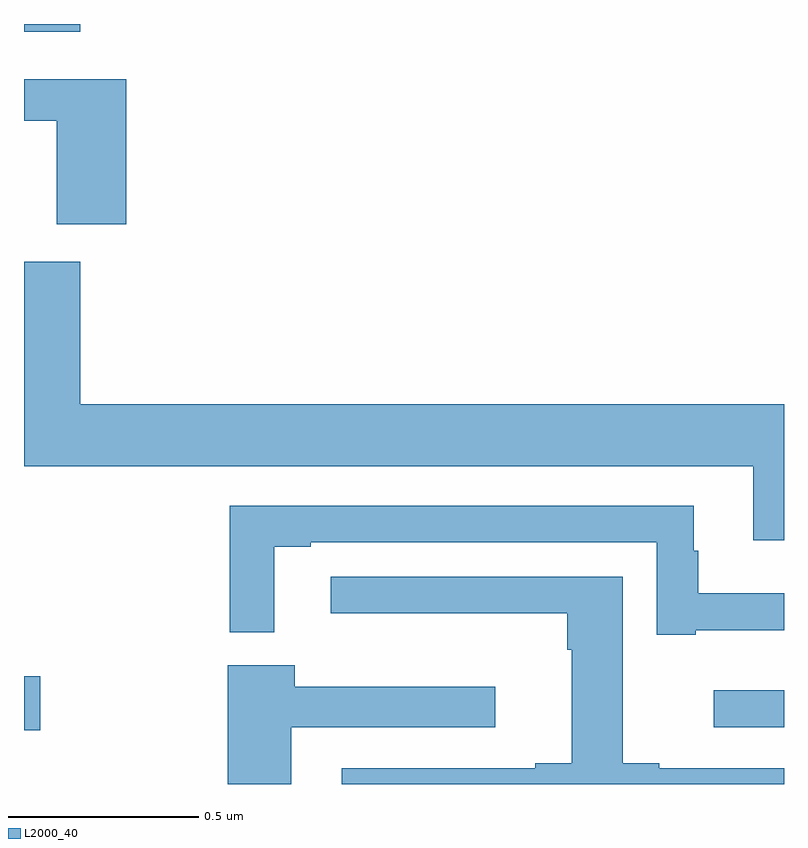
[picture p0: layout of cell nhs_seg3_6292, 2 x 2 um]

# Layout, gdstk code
import gdstk
lib = gdstk.Library(unit=1e-6, precision=1e-09)
def R(c, l, rs):  # rectangles x0, y0, x1, y1
    for r in rs: c.add(gdstk.rectangle(r[:2], r[2:], *l))
def P(c, l, *ps):  # polygons
    for p in ps: c.add(gdstk.Polygon(p, *l))
L2000_40 = (2000, 40)

nhs_seg3_6292 = lib.new_cell('nhs_seg3_6292')
R(nhs_seg3_6292, L2000_40, [(189,713.542,189.043,713.684), (190.815,713.55,191,713.647), (189,715.38,189.148,715.4)])
P(nhs_seg3_6292, L2000_40, [(189.269,715.254),(189,715.254),(189,715.146),(189.086,715.146),(189.086,714.873),(189.269,714.873)],
  [(191,714.4),(189.148,714.4),(189.148,714.775),(189,714.775),(189,714.236),(190.919,714.236),(190.919,714.042),(191,714.042)],
  [(190.768,713.804),(191,713.804),(191,713.902),(190.774,713.902),(190.774,714.014),(190.762,714.014),(190.762,714.132),(189.541,714.132),(189.541,713.799),(189.658,713.799),(189.658,714.024),(189.754,714.024),(189.754,714.036),(190.665,714.036),(190.665,713.793),(190.768,713.793)],
  [(191,713.442),(190.672,713.442),(190.672,713.455),(190.576,713.455),(190.576,713.946),(189.807,713.946),(189.807,713.849),(190.43,713.849),(190.43,713.753),(190.442,713.753),(190.442,713.455),(190.346,713.455),(190.346,713.442),(189.836,713.442),(189.836,713.4),(191,713.4)],
  [(189.703,713.549),(190.24,713.549),(190.24,713.656),(189.713,713.656),(189.713,713.713),(189.536,713.713),(189.536,713.4),(189.703,713.4)])

lib.write_gds('nhs_seg3_6292.gds')
